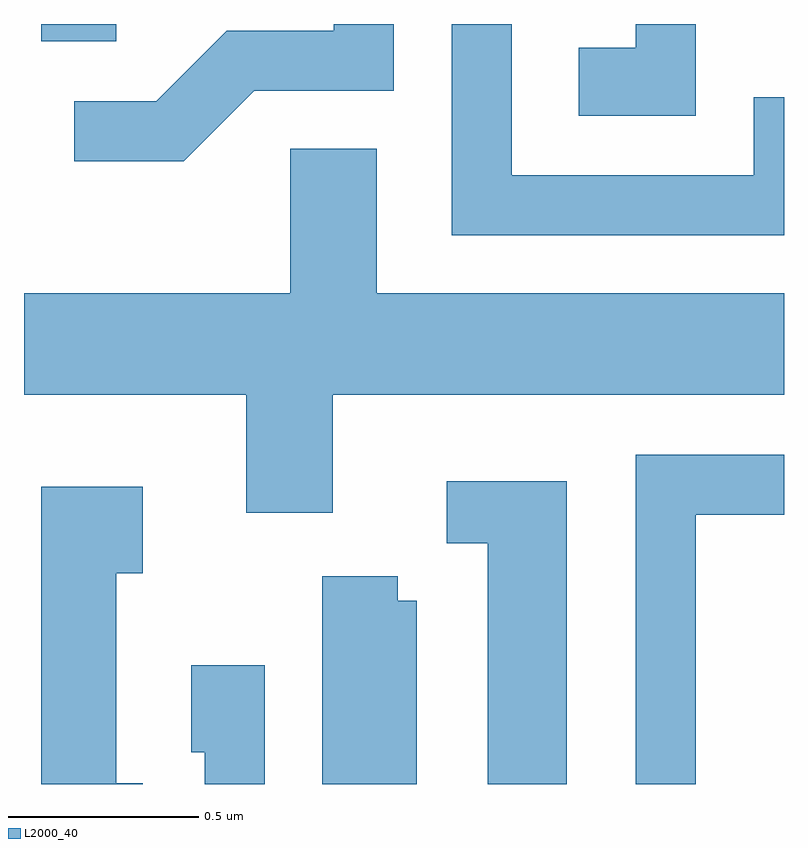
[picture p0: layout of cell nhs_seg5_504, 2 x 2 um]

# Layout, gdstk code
import gdstk
lib = gdstk.Library(unit=1e-6, precision=1e-09)
def R(c, l, rs):  # rectangles x0, y0, x1, y1
    for r in rs: c.add(gdstk.rectangle(r[:2], r[2:], *l))
def P(c, l, *ps):  # polygons
    for p in ps: c.add(gdstk.Polygon(p, *l))
L2000_40 = (2000, 40)

nhs_seg5_504 = lib.new_cell('nhs_seg5_504')
R(nhs_seg5_504, L2000_40, [(188.656,1491.026,188.854,1491.072)])
P(nhs_seg5_504, L2000_40, [(190.611,1490.879),(190.531,1490.879),(190.531,1490.674),(189.894,1490.674),(189.894,1491.072),(189.736,1491.072),(189.736,1490.516),(190.611,1490.516)],
  [(190.379,1491.072),(190.221,1491.072),(190.221,1491.009),(190.071,1491.009),(190.071,1490.831),(190.379,1490.831)],
  [(189.217,1490.896),(189.584,1490.896),(189.584,1491.072),(189.426,1491.072),(189.426,1491.054),(189.144,1491.054),(188.959,1490.869),(188.743,1490.869),(188.743,1490.711),(189.032,1490.711)],
  [(189.424,1490.096),(190.611,1490.096),(190.611,1490.364),(189.539,1490.364),(189.539,1490.744),(189.311,1490.744),(189.311,1490.364),(188.611,1490.364),(188.611,1490.096),(189.196,1490.096),(189.196,1489.786),(189.424,1489.786)],
  [(190.379,1489.781),(190.611,1489.781),(190.611,1489.939),(190.221,1489.939),(190.221,1489.072),(190.379,1489.072)],
  [(190.039,1489.869),(189.723,1489.869),(189.723,1489.706),(189.831,1489.706),(189.831,1489.072),(190.039,1489.072)],
  [(188.924,1489.074),(188.854,1489.074),(188.854,1489.626),(188.924,1489.626),(188.924,1489.854),(188.656,1489.854),(188.656,1489.072),(188.924,1489.072)],
  [(189.644,1489.554),(189.594,1489.554),(189.594,1489.619),(189.396,1489.619),(189.396,1489.072),(189.644,1489.072)],
  [(189.244,1489.384),(189.051,1489.384),(189.051,1489.156),(189.086,1489.156),(189.086,1489.072),(189.244,1489.072)])

lib.write_gds('nhs_seg5_504.gds')
